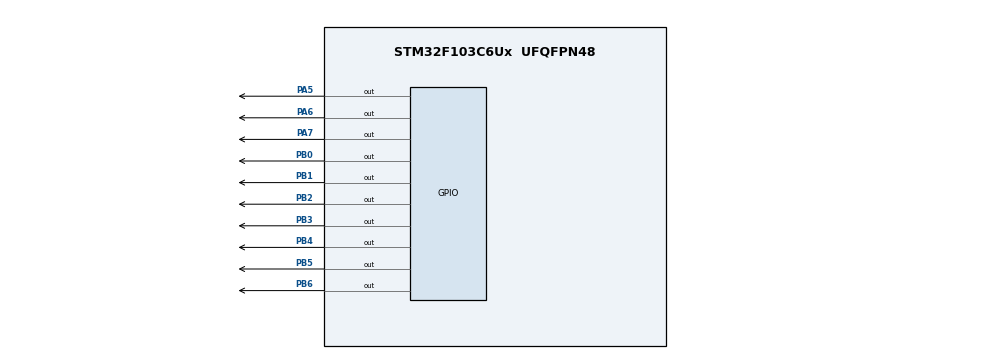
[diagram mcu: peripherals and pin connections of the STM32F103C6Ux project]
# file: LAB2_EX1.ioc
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Mcu.Family=STM32F1
Mcu.Name=STM32F103C6Ux
Mcu.Package=UFQFPN48
NVIC.PriorityGroup=NVIC_PRIORITYGROUP_4
NVIC.TIM2_IRQn=true\:0\:0\:false\:false\:true\:true\:true
PA5.Signal=GPIO_Output
PA6.Signal=GPIO_Output
PA7.Signal=GPIO_Output
PB0.Signal=GPIO_Output
PB1.Signal=GPIO_Output
PB2.Signal=GPIO_Output
PB3.Signal=GPIO_Output
PB4.Signal=GPIO_Output
PB5.Signal=GPIO_Output
PB6.Signal=GPIO_Output
ProjectManager.HeapSize=0x200
ProjectManager.StackSize=0x400
ProjectManager.TargetToolchain=STM32CubeIDE
RCC.APB1Freq_Value=8000000
RCC.APB2Freq_Value=8000000
TIM2.Period=9
TIM2.Prescaler=7999
VP_SYS_VS_ND.Mode=No_Debug
VP_TIM2_VS_ClockSourceINT.Mode=Internal
board=custom

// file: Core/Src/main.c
/* USER CODE BEGIN Header */
/**
  ******************************************************************************
  * @file           : main.c
  * @brief          : Lab 2 - Exercise 1
  ******************************************************************************
  */
/* USER CODE END Header */

#include "main.h"

TIM_HandleTypeDef htim2;

void SystemClock_Config(void);
static void MX_GPIO_Init(void);
static void MX_TIM2_Init(void);

/* USER CODE BEGIN 0 */

/*
 * Ma 7 doan Common Anode
 *
 * PB0 -> SEG0
 * PB1 -> SEG1
 * PB2 -> SEG2
 * PB3 -> SEG3
 * PB4 -> SEG4
 * PB5 -> SEG5
 * PB6 -> SEG6
 *
 * Bit = 0 -> sang
 * Bit = 1 -> tat
 */

uint8_t seg7[] =
{
    0xC0,   // 0
    0xF9,   // 1
    0xA4,   // 2
    0xB0,   // 3
    0x99,   // 4
    0x92,   // 5
    0x82,   // 6
    0xF8,   // 7
    0x80,   // 8
    0x90    // 9
};

/*
 * Bien dem Timer
 *
 * TIM2 ngat moi 10 ms
 *
 * 50 lan = 500 ms
 * 100 lan = 1000 ms
 */
int counter = 0;

/*
 * LED dang duoc hien thi
 *
 * 0 -> LED 7 doan thu nhat
 * 1 -> LED 7 doan thu hai
 */
int current_led = 0;

/*
 * Hien thi so len LED 7 doan
 */
void display7SEG(int num)
{
    uint8_t data = seg7[num];

    HAL_GPIO_WritePin(GPIOB, GPIO_PIN_0,
        (data & 0x01) ? GPIO_PIN_SET : GPIO_PIN_RESET);

    HAL_GPIO_WritePin(GPIOB, GPIO_PIN_1,
        (data & 0x02) ? GPIO_PIN_SET : GPIO_PIN_RESET);

    HAL_GPIO_WritePin(GPIOB, GPIO_PIN_2,
        (data & 0x04) ? GPIO_PIN_SET : GPIO_PIN_RESET);

    HAL_GPIO_WritePin(GPIOB, GPIO_PIN_3,
        (data & 0x08) ? GPIO_PIN_SET : GPIO_PIN_RESET);

    HAL_GPIO_WritePin(GPIOB, GPIO_PIN_4,
        (data & 0x10) ? GPIO_PIN_SET : GPIO_PIN_RESET);

    HAL_GPIO_WritePin(GPIOB, GPIO_PIN_5,
        (data & 0x20) ? GPIO_PIN_SET : GPIO_PIN_RESET);

    HAL_GPIO_WritePin(GPIOB, GPIO_PIN_6,
        (data & 0x40) ? GPIO_PIN_SET : GPIO_PIN_RESET);
}

/*
 * Tat ca 2 LED 7 doan
 *
 * PA6 -> EN0
 * PA7 -> EN1
 *
 * Do dung PNP:
 * 0 -> ON
 * 1 -> OFF
 */
void clearLed(void)
{
    HAL_GPIO_WritePin(GPIOA, GPIO_PIN_6, GPIO_PIN_SET);
    HAL_GPIO_WritePin(GPIOA, GPIO_PIN_7, GPIO_PIN_SET);
}

/*
 * Chon LED 7 doan
 *
 * index = 0 -> LED thu nhat
 * index = 1 -> LED thu hai
 */
void enablePin(int index)
{
    clearLed();

    if (index == 0)
    {
        HAL_GPIO_WritePin(GPIOA, GPIO_PIN_6, GPIO_PIN_RESET);
    }
    else if (index == 1)
    {
        HAL_GPIO_WritePin(GPIOA, GPIO_PIN_7, GPIO_PIN_RESET);
    }
}

/* USER CODE END 0 */

int main(void)
{

  /* MCU Configuration--------------------------------------------------------*/

  /* Reset of all peripherals, Initializes the Flash interface and the Systick. */
  HAL_Init();

  /* Configure the system clock */
  SystemClock_Config();

  /* Initialize all configured peripherals */
  MX_GPIO_Init();
  MX_TIM2_Init();

  /* USER CODE BEGIN 2 */

  /*
   * Ban dau hien thi so 1
   * tren LED 7 doan thu nhat
   */
  display7SEG(1);
  enablePin(0);

  /*
   * Khoi dong TIM2 voi interrupt
   */
  HAL_TIM_Base_Start_IT(&htim2);

  /* USER CODE END 2 */

  /* Infinite loop */
  while (1)
  {

  }
}

void SystemClock_Config(void)
{
  RCC_OscInitTypeDef RCC_OscInitStruct = {0};
  RCC_ClkInitTypeDef RCC_ClkInitStruct = {0};

  /** Initializes the RCC Oscillators
  */
  RCC_OscInitStruct.OscillatorType = RCC_OSCILLATORTYPE_HSI;
  RCC_OscInitStruct.HSIState = RCC_HSI_ON;
  RCC_OscInitStruct.HSICalibrationValue = RCC_HSICALIBRATION_DEFAULT;
  RCC_OscInitStruct.PLL.PLLState = RCC_PLL_NONE;

  if (HAL_RCC_OscConfig(&RCC_OscInitStruct) != HAL_OK)
  {
    Error_Handler();
  }

  /** Initializes the CPU, AHB and APB buses clocks
  */
  RCC_ClkInitStruct.ClockType =
      RCC_CLOCKTYPE_HCLK |
      RCC_CLOCKTYPE_SYSCLK |
      RCC_CLOCKTYPE_PCLK1 |
      RCC_CLOCKTYPE_PCLK2;

  RCC_ClkInitStruct.SYSCLKSource = RCC_SYSCLKSOURCE_HSI;
  RCC_ClkInitStruct.AHBCLKDivider = RCC_SYSCLK_DIV1;
  RCC_ClkInitStruct.APB1CLKDivider = RCC_HCLK_DIV1;
  RCC_ClkInitStruct.APB2CLKDivider = RCC_HCLK_DIV1;

  if (HAL_RCC_ClockConfig(&RCC_ClkInitStruct, FLASH_LATENCY_0) != HAL_OK)
  {
    Error_Handler();
  }
}

static void MX_TIM2_Init(void)
{

  TIM_ClockConfigTypeDef sClockSourceConfig = {0};
  TIM_MasterConfigTypeDef sMasterConfig = {0};

  htim2.Instance = TIM2;

  /*
   * Clock = 8 MHz
   *
   * 8,000,000 / (7999 + 1)
   * = 1000 Hz
   *
   * 1000 / (9 + 1)
   * = 100 Hz
   *
   * => interrupt moi 10 ms
   */
  htim2.Init.Prescaler = 7999;
  htim2.Init.CounterMode = TIM_COUNTERMODE_UP;
  htim2.Init.Period = 9;
  htim2.Init.ClockDivision = TIM_CLOCKDIVISION_DIV1;
  htim2.Init.AutoReloadPreload = TIM_AUTORELOAD_PRELOAD_DISABLE;

  if (HAL_TIM_Base_Init(&htim2) != HAL_OK)
  {
    Error_Handler();
  }

  sClockSourceConfig.ClockSource = TIM_CLOCKSOURCE_INTERNAL;

  if (HAL_TIM_ConfigClockSource(&htim2, &sClockSourceConfig) != HAL_OK)
  {
    Error_Handler();
  }

  sMasterConfig.MasterOutputTrigger = TIM_TRGO_RESET;
  sMasterConfig.MasterSlaveMode = TIM_MASTERSLAVEMODE_DISABLE;

  if (HAL_TIMEx_MasterConfigSynchronization(&htim2, &sMasterConfig) != HAL_OK)
  {
    Error_Handler();
  }

}

static void MX_GPIO_Init(void)
{
  GPIO_InitTypeDef GPIO_InitStruct = {0};

  /* GPIO Ports Clock Enable */
  __HAL_RCC_GPIOA_CLK_ENABLE();
  __HAL_RCC_GPIOB_CLK_ENABLE();

  /*
   * PA5 -> LED RED
   * PA6 -> EN0
   * PA7 -> EN1
   *
   * PNP:
   * SET   -> OFF
   * RESET -> ON
   */
  HAL_GPIO_WritePin(GPIOA,
                    GPIO_PIN_5 |
                    GPIO_PIN_6 |
                    GPIO_PIN_7,
                    GPIO_PIN_SET);

  /*
   * PB0 -> PB6
   */
  HAL_GPIO_WritePin(GPIOB,
                    GPIO_PIN_0 |
                    GPIO_PIN_1 |
                    GPIO_PIN_2 |
                    GPIO_PIN_3 |
                    GPIO_PIN_4 |
                    GPIO_PIN_5 |
                    GPIO_PIN_6,
                    GPIO_PIN_SET);

  /*
   * PA5 PA6 PA7
   */
  GPIO_InitStruct.Pin =
      GPIO_PIN_5 |
      GPIO_PIN_6 |
      GPIO_PIN_7;

  GPIO_InitStruct.Mode = GPIO_MODE_OUTPUT_PP;
  GPIO_InitStruct.Pull = GPIO_NOPULL;
  GPIO_InitStruct.Speed = GPIO_SPEED_FREQ_LOW;

  HAL_GPIO_Init(GPIOA, &GPIO_InitStruct);

  /*
   * PB0 PB1 PB2 PB3 PB4 PB5 PB6
   */
  GPIO_InitStruct.Pin =
      GPIO_PIN_0 |
      GPIO_PIN_1 |
      GPIO_PIN_2 |
      GPIO_PIN_3 |
      GPIO_PIN_4 |
      GPIO_PIN_5 |
      GPIO_PIN_6;

  GPIO_InitStruct.Mode = GPIO_MODE_OUTPUT_PP;
  GPIO_InitStruct.Pull = GPIO_NOPULL;
  GPIO_InitStruct.Speed = GPIO_SPEED_FREQ_LOW;

  HAL_GPIO_Init(GPIOB, &GPIO_InitStruct);
}

/* USER CODE BEGIN 4 */

/**
  * @brief Timer 2 interrupt callback
  *
  * TIM2 ngat moi 10 ms
  */
void HAL_TIM_PeriodElapsedCallback(TIM_HandleTypeDef *htim)
{
    if (htim->Instance == TIM2)
    {
        counter++;

        /*
         * 50 x 10 ms = 500 ms
         *
         * Sau 500 ms doi sang LED thu hai
         */
        if (counter == 50)
        {
            display7SEG(2);
            enablePin(1);
        }

        /*
         * 100 x 10 ms = 1000 ms
         *
         * Sau 1 giay quay lai LED thu nhat
         */
        if (counter >= 100)
        {
            counter = 0;

            display7SEG(1);
            enablePin(0);

            /*
             * D1 doi trang thai moi 1 giay
             */
            HAL_GPIO_TogglePin(GPIOA, GPIO_PIN_5);
        }
    }
}

/* USER CODE END 4 */

void Error_Handler(void)
{
  __disable_irq();
  while (1)
  {
  }
}
